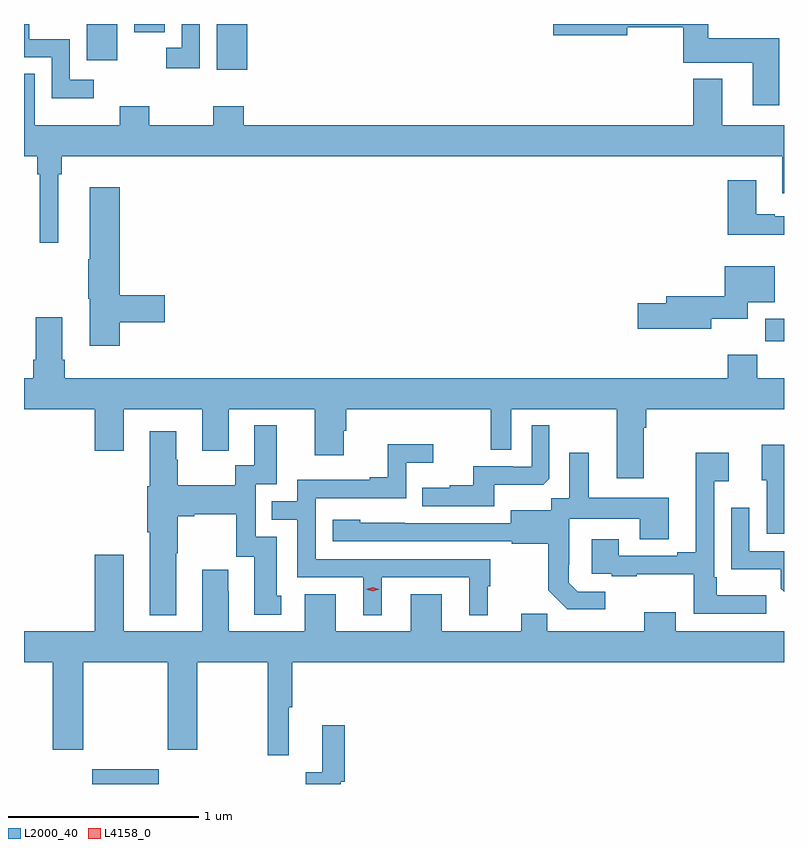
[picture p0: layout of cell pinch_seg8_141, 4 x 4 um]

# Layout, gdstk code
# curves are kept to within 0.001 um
import gdstk
lib = gdstk.Library(unit=1e-6, precision=1e-09)
def R(c, l, rs):  # rectangles x0, y0, x1, y1
    for r in rs: c.add(gdstk.rectangle(r[:2], r[2:], *l))
def P(c, l, *ps):  # polygons
    for p in ps: c.add(gdstk.Polygon(p, *l))
L2000_40 = (2000, 40)
L4158_0 = (4158, 0)

pinch_seg8_141 = lib.new_cell('pinch_seg8_141')
R(pinch_seg8_141, L2000_40, [(768.302,1158.484,768.652,1158.562), (771.844,1160.814,771.944,1160.932), (768.959,1162.242,769.12,1162.484), (768.275,1162.292,768.436,1162.484), (768.524,1162.44,768.685,1162.484)])
P(pinch_seg8_141, L2000_40, [(768.87,1162.484),(768.774,1162.484),(768.774,1162.359),(768.693,1162.359),(768.693,1162.251),(768.87,1162.251)],
  [(771.919,1162.408),(771.544,1162.408),(771.544,1162.484),(770.73,1162.484),(770.73,1162.426),(771.118,1162.426),(771.118,1162.468),(771.415,1162.468),(771.415,1162.28),(771.779,1162.28),(771.779,1162.056),(771.919,1162.056)],
  [(768.31,1162.191),(768.186,1162.191),(768.186,1162.404),(767.971,1162.404),(767.971,1162.484),(767.944,1162.484),(767.944,1162.308),(768.09,1162.308),(768.09,1162.094),(768.31,1162.094)],
  [(768.124,1161.692),(768.143,1161.692),(768.143,1161.788),(771.935,1161.788),(771.935,1161.594),(771.944,1161.594),(771.944,1161.952),(771.619,1161.952),(771.619,1162.195),(771.467,1162.195),(771.467,1161.952),(769.1,1161.952),(769.1,1162.051),(768.94,1162.051),(768.94,1161.952),(768.603,1161.952),(768.603,1162.051),(768.448,1162.051),(768.448,1161.952),(768.001,1161.952),(768.001,1162.223),(767.944,1162.223),(767.944,1161.788),(768.014,1161.788),(768.014,1161.692),(768.027,1161.692),(768.027,1161.333),(768.124,1161.333)],
  [(771.944,1161.471),(771.895,1161.471),(771.895,1161.484),(771.799,1161.484),(771.799,1161.661),(771.647,1161.661),(771.647,1161.374),(771.944,1161.374)],
  [(768.449,1160.914),(768.685,1160.914),(768.685,1161.056),(768.449,1161.056),(768.449,1161.625),(768.29,1161.625),(768.29,1161.245),(768.283,1161.245),(768.283,1161.039),(768.29,1161.039),(768.29,1160.79),(768.449,1160.79)],
  [(771.562,1160.933),(771.754,1160.933),(771.754,1161.02),(771.895,1161.02),(771.895,1161.208),(771.632,1161.208),(771.632,1161.05),(771.323,1161.05),(771.323,1161.014),(771.174,1161.014),(771.174,1160.879),(771.562,1160.879)],
  [(771.205,1160.36),(771.218,1160.36),(771.218,1160.456),(771.944,1160.456),(771.944,1160.62),(771.803,1160.62),(771.803,1160.744),(771.647,1160.744),(771.647,1160.62),(768.158,1160.62),(768.158,1160.716),(768.145,1160.716),(768.145,1160.941),(768.005,1160.941),(768.005,1160.716),(767.993,1160.716),(767.993,1160.62),(767.944,1160.62),(767.944,1160.456),(768.317,1160.456),(768.317,1160.238),(768.469,1160.238),(768.469,1160.456),(768.881,1160.456),(768.881,1160.238),(769.021,1160.238),(769.021,1160.456),(769.475,1160.456),(769.475,1160.214),(769.627,1160.214),(769.627,1160.343),(769.64,1160.343),(769.64,1160.456),(770.4,1160.456),(770.4,1160.242),(770.508,1160.242),(770.508,1160.456),(771.065,1160.456),(771.065,1160.094),(771.205,1160.094)],
  [(770.419,1160.06),(770.677,1160.06),(770.709,1160.091),(770.709,1160.371),(770.616,1160.371),(770.616,1160.154),(770.516,1160.154),(770.516,1160.157),(770.309,1160.157),(770.309,1160.056),(770.185,1160.056),(770.185,1160.044),(770.041,1160.044),(770.041,1159.947),(770.419,1159.947)],
  [(768.745,1159.699),(768.753,1159.699),(768.753,1159.892),(768.841,1159.892),(768.841,1159.904),(769.061,1159.904),(769.061,1159.68),(769.157,1159.68),(769.157,1159.374),(769.297,1159.374),(769.297,1159.476),(769.273,1159.476),(769.273,1159.785),(769.164,1159.785),(769.164,1160.061),(769.273,1160.061),(769.273,1160.371),(769.157,1160.371),(769.157,1160.162),(769.056,1160.162),(769.056,1160.056),(768.753,1160.056),(768.753,1160.19),(768.745,1160.19),(768.745,1160.341),(768.605,1160.341),(768.605,1160.052),(768.593,1160.052),(768.593,1159.808),(768.605,1159.808),(768.605,1159.373),(768.745,1159.373)],
  [(769.828,1159.572),(770.288,1159.572),(770.288,1159.373),(770.386,1159.373),(770.386,1159.524),(770.398,1159.524),(770.398,1159.668),(769.479,1159.668),(769.479,1159.989),(769.956,1159.989),(769.956,1160.174),(770.098,1160.174),(770.098,1160.273),(769.858,1160.273),(769.858,1160.098),(769.763,1160.098),(769.763,1160.085),(769.383,1160.085),(769.383,1159.971),(769.249,1159.971),(769.249,1159.875),(769.383,1159.875),(769.383,1159.572),(769.73,1159.572),(769.73,1159.373),(769.828,1159.373)],
  [(771.944,1160.27),(771.827,1160.27),(771.827,1160.082),(771.852,1160.082),(771.852,1159.8),(771.944,1159.8)],
  [(771.85,1159.477),(771.589,1159.477),(771.589,1159.573),(771.576,1159.573),(771.576,1160.078),(771.652,1160.078),(771.652,1160.227),(771.479,1160.227),(771.479,1159.705),(771.383,1159.705),(771.383,1159.686),(771.073,1159.686),(771.073,1159.771),(770.933,1159.771),(770.933,1159.59),(771.037,1159.59),(771.037,1159.578),(771.169,1159.578),(771.169,1159.589),(771.468,1159.589),(771.468,1159.38),(771.85,1159.38)],
  [(771.004,1159.497),(770.859,1159.497),(770.812,1159.544),(770.812,1159.639),(770.814,1159.639),(770.814,1159.88),(771.185,1159.88),(771.185,1159.771),(771.337,1159.771),(771.337,1159.99),(770.917,1159.99),(770.917,1160.227),(770.813,1160.227),(770.813,1159.988),(770.718,1159.988),(770.718,1159.924),(770.507,1159.924),(770.507,1159.857),(769.713,1159.858),(769.713,1159.876),(769.569,1159.876),(769.569,1159.761),(770.511,1159.761),(770.511,1159.749),(770.703,1159.749),(770.703,1159.503),(770.803,1159.403),(771.004,1159.403)],
  [(771.944,1159.71),(771.762,1159.71),(771.762,1159.939),(771.666,1159.939),(771.666,1159.613),(771.928,1159.613),(771.928,1159.511),(771.944,1159.495)],
  [(769.337,1158.888),(769.355,1158.888),(769.355,1159.124),(771.944,1159.124),(771.944,1159.288),(771.373,1159.288),(771.373,1159.387),(771.209,1159.387),(771.209,1159.288),(770.699,1159.288),(770.699,1159.379),(770.561,1159.379),(770.561,1159.288),(770.143,1159.288),(770.143,1159.483),(769.979,1159.483),(769.979,1159.288),(769.585,1159.288),(769.585,1159.483),(769.421,1159.483),(769.421,1159.288),(769.021,1159.288),(769.021,1159.499),(769.018,1159.499),(769.018,1159.612),(768.881,1159.612),(768.881,1159.288),(768.469,1159.288),(768.469,1159.69),(768.317,1159.69),(768.317,1159.288),(767.944,1159.288),(767.944,1159.124),(768.095,1159.124),(768.095,1158.663),(768.255,1158.663),(768.255,1159.124),(768.7,1159.124),(768.7,1158.663),(768.855,1158.663),(768.855,1159.124),(769.227,1159.124),(769.227,1158.636),(769.337,1158.636)],
  [(769.611,1158.496),(769.631,1158.496),(769.631,1158.793),(769.514,1158.793),(769.514,1158.545),(769.428,1158.545),(769.428,1158.484),(769.611,1158.484)])
P(pinch_seg8_141, L4158_0, [(769.779,1159.499),(769.743,1159.51),(769.743,1159.51),(769.743,1159.51),(769.779,1159.519),(769.815,1159.508),(769.815,1159.508),(769.815,1159.508)])

lib.write_gds('pinch_seg8_141.gds')
